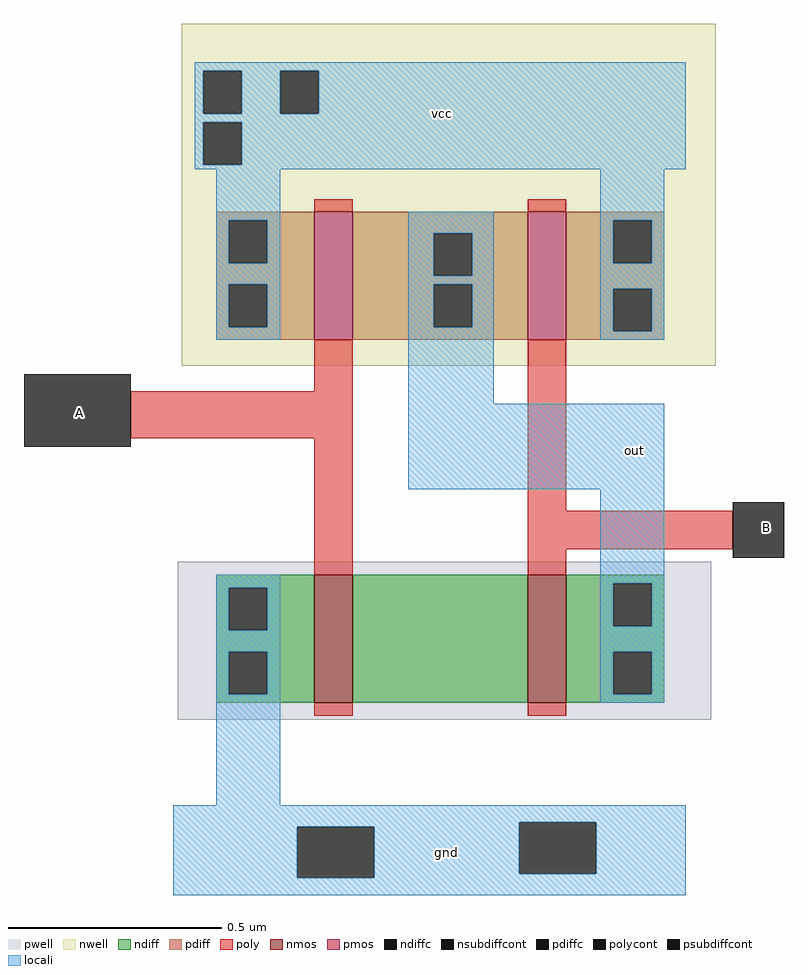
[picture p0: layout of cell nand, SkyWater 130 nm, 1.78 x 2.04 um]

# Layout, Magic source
magic
tech sky130A
<< nwell >>
rect -63 14 62 94
<< pwell >>
rect -64 -69 61 -32
<< nmos >>
rect -32 -65 -23 -35
rect 18 -65 27 -35
<< pmos >>
rect -32 20 -23 50
rect 18 20 27 50
<< ndiff >>
rect -55 -38 -32 -35
rect -55 -48 -52 -38
rect -43 -48 -32 -38
rect -55 -53 -32 -48
rect -55 -63 -52 -53
rect -43 -63 -32 -53
rect -55 -65 -32 -63
rect -23 -65 18 -35
rect 27 -37 50 -35
rect 27 -47 38 -37
rect 47 -47 50 -37
rect 27 -53 50 -47
rect 27 -63 38 -53
rect 47 -63 50 -53
rect 27 -65 50 -63
<< pdiff >>
rect -55 48 -32 50
rect -55 38 -52 48
rect -43 38 -32 48
rect -55 33 -32 38
rect -55 23 -52 33
rect -43 23 -32 33
rect -55 20 -32 23
rect -23 45 18 50
rect -23 35 -4 45
rect 5 35 18 45
rect -23 33 18 35
rect -23 23 -4 33
rect 5 23 18 33
rect -23 20 18 23
rect 27 48 50 50
rect 27 38 38 48
rect 47 38 50 48
rect 27 32 50 38
rect 27 22 38 32
rect 47 22 50 32
rect 27 20 50 22
<< ndiffc >>
rect -52 -48 -43 -38
rect -52 -63 -43 -53
rect 38 -47 47 -37
rect 38 -63 47 -53
<< pdiffc >>
rect -52 38 -43 48
rect -52 23 -43 33
rect 38 38 47 48
rect 38 22 47 32
<< psubdiffcont >>
rect -4 35 5 45
rect -4 23 5 33
rect -36 -106 -18 -94
rect 16 -105 34 -93
<< nsubdiffcont >>
rect -58 73 -49 83
rect -40 73 -31 83
rect -58 61 -49 71
<< poly >>
rect -32 50 -23 53
rect 18 50 27 53
rect -32 8 -23 20
rect -75 -3 -23 8
rect -32 -35 -23 -3
rect 18 -20 27 20
rect 18 -29 66 -20
rect 18 -35 27 -29
rect -32 -68 -23 -65
rect 18 -68 27 -65
<< polycont >>
rect -100 -5 -75 12
rect 66 -31 78 -18
<< locali >>
rect -60 83 55 85
rect -60 73 -58 83
rect -49 73 -40 83
rect -31 73 55 83
rect -60 71 55 73
rect -60 61 -58 71
rect -49 61 55 71
rect -60 60 55 61
rect -55 48 -40 60
rect -55 38 -52 48
rect -43 38 -40 48
rect -55 33 -40 38
rect -55 23 -52 33
rect -43 23 -40 33
rect -55 20 -40 23
rect -10 45 10 50
rect -10 35 -4 45
rect 5 35 10 45
rect -10 33 10 35
rect -10 23 -4 33
rect 5 23 10 33
rect -10 5 10 23
rect 35 48 50 60
rect 35 38 38 48
rect 47 38 50 48
rect 35 32 50 38
rect 35 22 38 32
rect 47 22 50 32
rect 35 20 50 22
rect -10 -15 50 5
rect -55 -38 -40 -35
rect -55 -48 -52 -38
rect -43 -48 -40 -38
rect -55 -53 -40 -48
rect -55 -63 -52 -53
rect -43 -63 -40 -53
rect -55 -89 -40 -63
rect 35 -37 50 -15
rect 35 -47 38 -37
rect 47 -47 50 -37
rect 35 -53 50 -47
rect 35 -63 38 -53
rect 47 -63 50 -53
rect 35 -65 50 -63
rect -65 -93 55 -89
rect -65 -94 16 -93
rect -65 -106 -36 -94
rect -18 -105 16 -94
rect 34 -105 55 -93
rect -18 -106 55 -105
rect -65 -110 55 -106
<< labels >>
rlabel polycont -87 3 -87 3 7 A
rlabel locali -2 73 -2 73 1 vcc
rlabel locali -1 -100 -1 -100 5 gnd
rlabel locali 43 -6 43 -6 3 out
rlabel polycont 74 -24 74 -24 3 B
<< end >>
